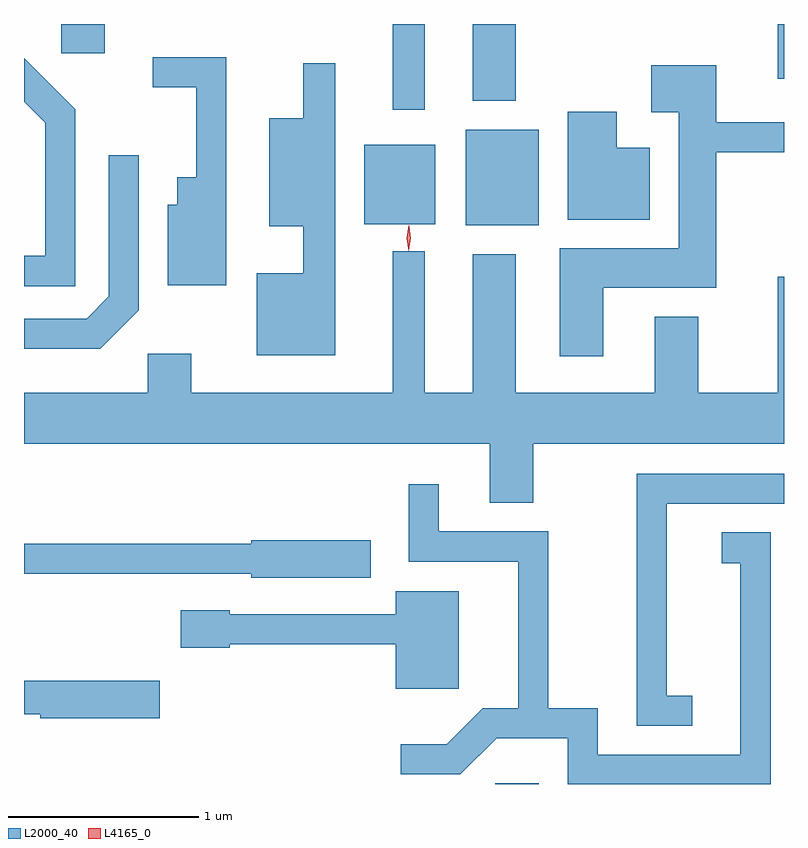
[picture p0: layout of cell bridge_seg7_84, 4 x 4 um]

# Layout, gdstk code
import gdstk
lib = gdstk.Library(unit=1e-6, precision=1e-09)
def R(c, l, rs):  # rectangles x0, y0, x1, y1
    for r in rs: c.add(gdstk.rectangle(r[:2], r[2:], *l))
def P(c, l, *ps):  # polygons
    for p in ps: c.add(gdstk.Polygon(p, *l))
L2000_40 = (2000, 40)
L4165_0 = (4165, 0)

bridge_seg7_84 = lib.new_cell('bridge_seg7_84')
R(bridge_seg7_84, L2000_40, [(1632.171,1770.245,1632.399,1770.249), (1632.016,1773.186,1632.399,1773.689), (1631.481,1773.191,1631.854,1773.609), (1631.631,1773.793,1631.799,1774.245), (1632.051,1773.841,1632.279,1774.245), (1633.656,1773.956,1633.69,1774.245), (1629.886,1774.091,1630.114,1774.245)])
P(bridge_seg7_84, L2000_40, [(1630.754,1774.069),(1630.368,1774.069),(1630.368,1773.911),(1630.596,1773.911),(1630.596,1773.439),(1630.496,1773.439),(1630.496,1773.294),(1630.446,1773.294),(1630.446,1772.871),(1630.754,1772.871)],
  [(1629.959,1773.797),(1629.69,1774.066),(1629.69,1773.835),(1629.801,1773.724),(1629.801,1773.024),(1629.69,1773.024),(1629.69,1772.866),(1629.959,1772.866)],
  [(1631.329,1774.038),(1631.161,1774.038),(1631.161,1773.749),(1630.981,1773.749),(1630.981,1773.181),(1631.161,1773.181),(1631.161,1772.934),(1630.916,1772.934),(1630.916,1772.501),(1631.329,1772.501)],
  [(1632.739,1772.856),(1633.334,1772.856),(1633.334,1773.571),(1633.69,1773.571),(1633.69,1773.729),(1633.334,1773.729),(1633.334,1774.029),(1632.991,1774.029),(1632.991,1773.781),(1633.136,1773.781),(1633.136,1773.064),(1632.511,1773.064),(1632.511,1772.496),(1632.739,1772.496)],
  [(1632.984,1773.594),(1632.809,1773.594),(1632.809,1773.784),(1632.551,1773.784),(1632.551,1773.216),(1632.984,1773.216)],
  [(1630.294,1772.739),(1630.294,1773.553),(1630.136,1773.553),(1630.136,1772.812),(1630.019,1772.694),(1629.69,1772.694),(1629.69,1772.536),(1630.092,1772.536)],
  [(1632.369,1772.036),(1633.69,1772.036),(1633.69,1772.914),(1633.656,1772.914),(1633.656,1772.304),(1633.239,1772.304),(1633.239,1772.704),(1633.011,1772.704),(1633.011,1772.304),(1632.279,1772.304),(1632.279,1773.034),(1632.051,1773.034),(1632.051,1772.304),(1631.799,1772.304),(1631.799,1773.048),(1631.631,1773.048),(1631.631,1772.304),(1630.569,1772.304),(1630.569,1772.509),(1630.341,1772.509),(1630.341,1772.304),(1629.69,1772.304),(1629.69,1772.036),(1632.141,1772.036),(1632.141,1771.726),(1632.369,1771.726)],
  [(1633.208,1770.709),(1633.074,1770.709),(1633.074,1771.721),(1633.69,1771.721),(1633.69,1771.879),(1632.916,1771.879),(1632.916,1770.551),(1633.208,1770.551)],
  [(1633.619,1771.569),(1633.363,1771.569),(1633.363,1771.406),(1633.461,1771.406),(1633.461,1770.399),(1632.709,1770.399),(1632.709,1770.644),(1632.449,1770.644),(1632.449,1771.574),(1631.874,1771.574),(1631.874,1771.823),(1631.716,1771.823),(1631.716,1771.416),(1632.291,1771.416),(1632.291,1770.644),(1632.104,1770.644),(1631.914,1770.454),(1631.673,1770.454),(1631.673,1770.296),(1631.987,1770.296),(1632.177,1770.486),(1632.551,1770.486),(1632.551,1770.245),(1633.619,1770.245)],
  [(1631.514,1771.529),(1630.886,1771.529),(1630.886,1771.509),(1629.69,1771.509),(1629.69,1771.351),(1630.886,1771.351),(1630.886,1771.331),(1631.514,1771.331)],
  [(1631.979,1771.259),(1631.646,1771.259),(1631.646,1771.139),(1630.774,1771.139),(1630.774,1771.159),(1630.516,1771.159),(1630.516,1770.961),(1630.774,1770.961),(1630.774,1770.981),(1631.646,1770.981),(1631.646,1770.746),(1631.979,1770.746)],
  [(1630.404,1770.789),(1629.69,1770.789),(1629.69,1770.611),(1629.776,1770.611),(1629.776,1770.591),(1630.404,1770.591)])
P(bridge_seg7_84, L4165_0, [(1631.714,1773.05),(1631.714,1773.05),(1631.704,1773.118),(1631.714,1773.186),(1631.714,1773.186),(1631.715,1773.186),(1631.724,1773.118),(1631.715,1773.05)],
  [(1631.715,1773.053),(1631.715,1773.053),(1631.706,1773.117),(1631.716,1773.181),(1631.717,1773.182),(1631.717,1773.181),(1631.726,1773.117),(1631.716,1773.053)])

lib.write_gds('bridge_seg7_84.gds')
